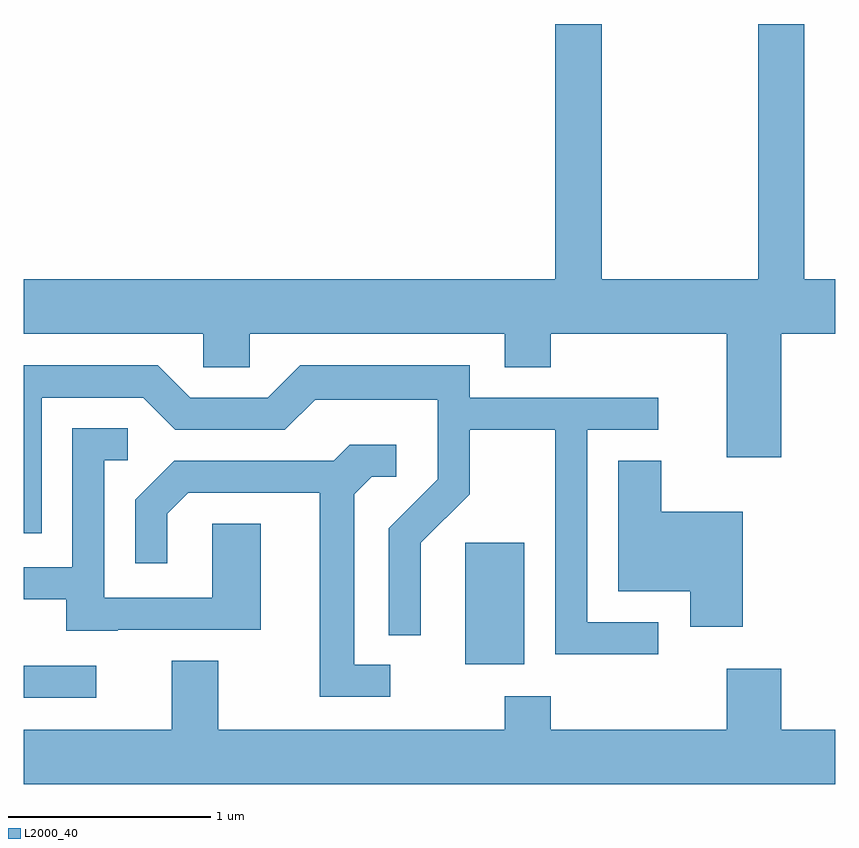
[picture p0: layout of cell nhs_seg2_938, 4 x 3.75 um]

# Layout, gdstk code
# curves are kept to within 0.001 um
import gdstk
lib = gdstk.Library(unit=1e-6, precision=1e-09)
def R(c, l, rs):  # rectangles x0, y0, x1, y1
    for r in rs: c.add(gdstk.rectangle(r[:2], r[2:], *l))
def P(c, l, *ps):  # polygons
    for p in ps: c.add(gdstk.Polygon(p, *l))
L2000_40 = (2000, 40)

nhs_seg2_938 = lib.new_cell('nhs_seg2_938')
R(nhs_seg2_938, L2000_40, [(211.611,1086.481,211.968,1086.639), (213.786,1086.646,214.079,1087.244)])
P(nhs_seg2_938, L2000_40, [(215.344,1088.276),(215.611,1088.276),(215.611,1088.544),(215.459,1088.544),(215.459,1089.802),(215.231,1089.802),(215.231,1088.544),(214.459,1088.544),(214.459,1089.802),(214.231,1089.802),(214.231,1088.544),(211.611,1088.544),(211.611,1088.276),(212.496,1088.276),(212.496,1088.111),(212.724,1088.111),(212.724,1088.276),(213.981,1088.276),(213.981,1088.111),(214.209,1088.111),(214.209,1088.276),(215.076,1088.276),(215.076,1087.666),(215.344,1087.666)],
  [(214.738,1086.854),(214.389,1086.854),(214.389,1087.801),(214.738,1087.801),(214.738,1087.959),(213.809,1087.959),(213.809,1088.119),(212.974,1088.119),(212.814,1087.959),(212.432,1087.959),(212.272,1088.119),(211.611,1088.119),(211.611,1087.291),(211.699,1087.291),(211.699,1087.961),(212.199,1087.961),(212.359,1087.801),(212.897,1087.801),(213.047,1087.951),(213.651,1087.951),(213.651,1087.557),(213.411,1087.317),(213.411,1086.788),(213.569,1086.788),(213.569,1087.244),(213.809,1087.484),(213.809,1087.801),(214.231,1087.801),(214.231,1086.696),(214.738,1086.696)],
  [(212.075,1086.816),(212.779,1086.816),(212.779,1087.339),(212.541,1087.339),(212.541,1086.974),(212.009,1086.974),(212.009,1087.651),(212.123,1087.651),(212.123,1087.809),(211.851,1087.809),(211.851,1087.124),(211.611,1087.124),(211.611,1086.966),(211.821,1086.966),(211.821,1086.811),(212.075,1086.811)],
  [(213.418,1086.644),(213.239,1086.644),(213.239,1087.484),(213.327,1087.571),(213.448,1087.571),(213.448,1087.729),(213.219,1087.729),(213.139,1087.649),(212.354,1087.649),(212.161,1087.457),(212.161,1087.143),(212.319,1087.143),(212.319,1087.389),(212.422,1087.491),(213.071,1087.491),(213.071,1086.486),(213.418,1086.486)],
  [(215.154,1087.399),(214.754,1087.399),(214.754,1087.649),(214.541,1087.649),(214.541,1087.006),(214.896,1087.006),(214.896,1086.831),(215.154,1086.831)],
  [(215.611,1086.324),(215.344,1086.324),(215.344,1086.624),(215.076,1086.624),(215.076,1086.324),(214.209,1086.324),(214.209,1086.489),(213.981,1086.489),(213.981,1086.324),(212.569,1086.324),(212.569,1086.664),(212.341,1086.664),(212.341,1086.324),(211.611,1086.324),(211.611,1086.056),(215.611,1086.056)])

lib.write_gds('nhs_seg2_938.gds')
